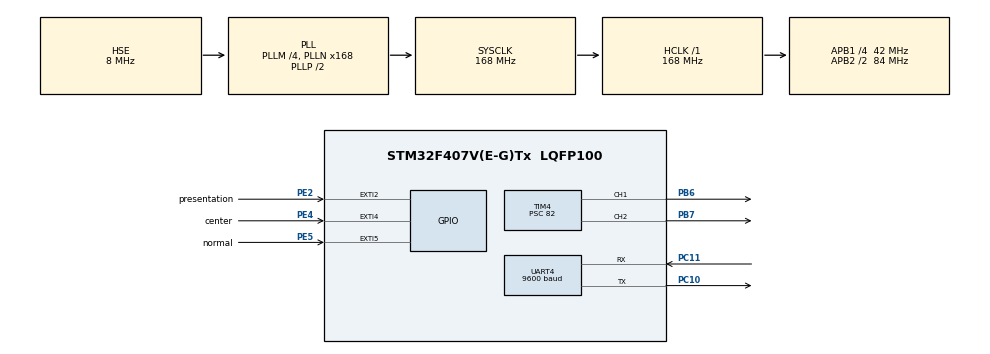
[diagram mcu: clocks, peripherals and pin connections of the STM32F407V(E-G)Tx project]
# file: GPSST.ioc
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Mcu.Family=STM32F4
Mcu.Name=STM32F407V(E-G)Tx
Mcu.Package=LQFP100
NVIC.EXTI2_IRQn=true\:0\:0\:false\:false\:true\:true
NVIC.EXTI4_IRQn=true\:0\:0\:false\:false\:true\:true
NVIC.EXTI9_5_IRQn=true\:0\:0\:false\:false\:true\:true
NVIC.PriorityGroup=NVIC_PRIORITYGROUP_4
NVIC.TIM1_BRK_TIM9_IRQn=true\:0\:0\:false\:false\:true\:true
NVIC.TIM2_IRQn=true\:0\:0\:false\:false\:true\:true
NVIC.TIM3_IRQn=true\:0\:0\:false\:false\:true\:true
NVIC.TIM4_IRQn=true\:0\:0\:false\:false\:true\:true
NVIC.TIM8_BRK_TIM12_IRQn=true\:0\:0\:false\:false\:true\:true
NVIC.UART4_IRQn=true\:0\:0\:false\:false\:true\:true
PB6.Signal=S_TIM4_CH1
PB7.Signal=S_TIM4_CH2
PC10.Mode=Asynchronous
PC10.Signal=UART4_TX
PC11.Mode=Asynchronous
PC11.Signal=UART4_RX
PE2.GPIO_Label=presentation
PE2.GPIO_ModeDefaultEXTI=GPIO_MODE_IT_RISING
PE2.GPIO_PuPd=GPIO_PULLDOWN
PE2.Signal=GPXTI2
PE4.GPIO_Label=center
PE4.GPIO_ModeDefaultEXTI=GPIO_MODE_IT_RISING
PE4.GPIO_PuPd=GPIO_PULLDOWN
PE4.Signal=GPXTI4
PE5.GPIO_Label=normal
PE5.GPIO_ModeDefaultEXTI=GPIO_MODE_IT_RISING
PE5.GPIO_PuPd=GPIO_PULLDOWN
PE5.Signal=GPXTI5
PH0-OSC_IN.Mode=HSE-External-Oscillator
PH0-OSC_IN.Signal=RCC_OSC_IN
PH1-OSC_OUT.Mode=HSE-External-Oscillator
PH1-OSC_OUT.Signal=RCC_OSC_OUT
ProjectManager.HeapSize=0x200
ProjectManager.StackSize=0x400
ProjectManager.TargetToolchain=SW4STM32
RCC.48MHZClocksFreq_Value=84000000
RCC.AHBFreq_Value=168000000
RCC.APB1CLKDivider=RCC_HCLK_DIV4
RCC.APB1Freq_Value=42000000
RCC.APB1TimFreq_Value=84000000
RCC.APB2CLKDivider=RCC_HCLK_DIV2
RCC.APB2Freq_Value=84000000
RCC.APB2TimFreq_Value=168000000
RCC.CortexFreq_Value=168000000
RCC.HCLKFreq_Value=168000000
RCC.HSE_VALUE=8000000
RCC.HSI_VALUE=16000000
RCC.LSE_VALUE=32768
RCC.PLLM=4
RCC.PLLN=168
RCC.PLLSourceVirtual=RCC_PLLSOURCE_HSE
RCC.SYSCLKFreq_VALUE=168000000
RCC.SYSCLKSource=RCC_SYSCLKSOURCE_PLLCLK
RCC.VCOOutputFreq_Value=336000000
SH.S_TIM4_CH1.0=TIM4_CH1,PWM Generation1 CH1
SH.S_TIM4_CH2.0=TIM4_CH2,PWM Generation2 CH2
TIM12.Period=199
TIM12.Prescaler=2099
TIM2.Period=41999
TIM2.Prescaler=3999
TIM3.Period=65399
TIM3.Prescaler=38531
TIM4.Channel-PWM\ Generation1\ CH1=TIM_CHANNEL_1
TIM4.Channel-PWM\ Generation2\ CH2=TIM_CHANNEL_2
TIM4.Period=20004
TIM4.Prescaler=82
TIM9.Period=224
TIM9.Prescaler=1
UART4.BaudRate=9600
UART4.VirtualMode=Asynchronous
VP_TIM12_VS_ClockSourceINT.Mode=Internal
VP_TIM2_VS_ClockSourceINT.Mode=Internal
VP_TIM3_VS_ClockSourceINT.Mode=Internal
VP_TIM3_VS_ClockSourceITR.Mode=TriggerSource_ITR0
VP_TIM4_VS_ClockSourceINT.Mode=Internal
VP_TIM9_VS_ClockSourceITR.Mode=TriggerSource_ITR0
VP_TIM9_VS_ControllerModeClock.Mode=Clock Mode
board=custom

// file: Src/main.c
/**
  ******************************************************************************
  * @file           : main.c
  * @brief          : Main program body
  ******************************************************************************
  ** This notice applies to any and all portions of this file
  * that are not between comment pairs USER CODE BEGIN and
  * USER CODE END. Other portions of this file, whether
  * inserted by the user or by software development tools
  * are owned by their respective copyright owners.
  *
  * COPYRIGHT(c) 2019 STMicroelectronics
  *
  * Redistribution and use in source and binary forms, with or without modification,
  * are permitted provided that the following conditions are met:
  *   1. Redistributions of source code must retain the above copyright notice,
  *      this list of conditions and the following disclaimer.
  *   2. Redistributions in binary form must reproduce the above copyright notice,
  *      this list of conditions and the following disclaimer in the documentation
  *      and/or other materials provided with the distribution.
  *   3. Neither the name of STMicroelectronics nor the names of its contributors
  *      may be used to endorse or promote products derived from this software
  *      without specific prior written permission.
  *
  * THIS SOFTWARE IS PROVIDED BY THE COPYRIGHT HOLDERS AND CONTRIBUTORS "AS IS"
  * AND ANY EXPRESS OR IMPLIED WARRANTIES, INCLUDING, BUT NOT LIMITED TO, THE
  * IMPLIED WARRANTIES OF MERCHANTABILITY AND FITNESS FOR A PARTICULAR PURPOSE ARE
  * DISCLAIMED. IN NO EVENT SHALL THE COPYRIGHT HOLDER OR CONTRIBUTORS BE LIABLE
  * FOR ANY DIRECT, INDIRECT, INCIDENTAL, SPECIAL, EXEMPLARY, OR CONSEQUENTIAL
  * DAMAGES (INCLUDING, BUT NOT LIMITED TO, PROCUREMENT OF SUBSTITUTE GOODS OR
  * SERVICES; LOSS OF USE, DATA, OR PROFITS; OR BUSINESS INTERRUPTION) HOWEVER
  * CAUSED AND ON ANY THEORY OF LIABILITY, WHETHER IN CONTRACT, STRICT LIABILITY,
  * OR TORT (INCLUDING NEGLIGENCE OR OTHERWISE) ARISING IN ANY WAY OUT OF THE USE
  * OF THIS SOFTWARE, EVEN IF ADVISED OF THE POSSIBILITY OF SUCH DAMAGE.
  *
  ******************************************************************************
  */
/* USER CODE BEGIN Includes */
#include "tracker.h"
/* USER CODE END Includes */

TIM_HandleTypeDef htim2;
TIM_HandleTypeDef htim3;
TIM_HandleTypeDef htim4;
TIM_HandleTypeDef htim9;
TIM_HandleTypeDef htim12;

/* USER CODE BEGIN PV */
/* Private variables ---------------------------------------------------------*/

/* USER CODE END PV */

void SystemClock_Config(void);
static void MX_GPIO_Init(void);
static void MX_TIM2_Init(void);
static void MX_TIM3_Init(void);
static void MX_TIM4_Init(void);
static void MX_UART4_Init(void);
static void MX_TIM9_Init(void);
static void MX_TIM12_Init(void);

void HAL_TIM_MspPostInit(TIM_HandleTypeDef *htim);

/* USER CODE BEGIN PFP */
/* Private function prototypes -----------------------------------------------*/
void HAL_TIM_PeriodElapsedCallback(TIM_HandleTypeDef *htim){
   	if(htim->Instance == TIM2 && MODE == 1)
   	{
   		presentation_mode();
    }

   	if(htim->Instance == TIM9 && MODE == 2)
   	{
   		normal_mode();
    }

   	if(htim->Instance == TIM12)
	{
   		if(TIM4->CCR1 < AZIMUTH)
		{
			TIM4->CCR1++;
		}
		else
		{
			TIM4->CCR1--;
		}

   		if(TIM4->CCR2 < ELEVATION)
		{
			TIM4->CCR2++;
		}
		else
		{
			TIM4->CCR2--;
		}
	}
}

void HAL_GPIO_EXTI_Callback(uint16_t GPIO_Pin){

	if(GPIO_Pin == center_Pin && HAL_GPIO_ReadPin(GPIOE, center_Pin) == 1)
	  {
		  MODE = 0;
		  AZIMUTH = set_servo_azimuth(0);
		  ELEVATION = set_servo_elevation(0);
 			presentation_mode_counter = 0;
	  }
	  else if(GPIO_Pin == presentation_Pin && HAL_GPIO_ReadPin(GPIOE, presentation_Pin) == 1)
	  {
		  MODE = 1;
 			presentation_mode();
	  }
	  else if(GPIO_Pin == normal_Pin && HAL_GPIO_ReadPin(GPIOE, normal_Pin) == 1)
	  {
		  MODE = 2;
 			presentation_mode_counter = 0;
 			normal_mode();
	  }
}

/* USER CODE END PFP */

int main(void)
{

  /* MCU Configuration----------------------------------------------------------*/

  /* Reset of all peripherals, Initializes the Flash interface and the Systick. */
  HAL_Init();

  /* Configure the system clock */
  SystemClock_Config();

  /* Initialize all configured peripherals */
  MX_GPIO_Init();
  MX_TIM2_Init();
  MX_TIM3_Init();
  MX_TIM4_Init();
  MX_UART4_Init();
  MX_TIM9_Init();
  MX_TIM12_Init();
  /* USER CODE BEGIN 2 */

  HAL_TIM_Base_Start_IT(&htim3);
  HAL_TIM_Base_Start_IT(&htim4);
  HAL_TIM_Base_Start_IT(&htim2);
  HAL_TIM_Base_Start_IT(&htim9);
  HAL_TIM_Base_Start_IT(&htim12);
  HAL_TIM_PWM_Start(&htim4, TIM_CHANNEL_1);
  HAL_TIM_PWM_Start(&htim4, TIM_CHANNEL_2);

  TIM4->CCR1 = 1500;
  TIM4->CCR2 = 1500;
  HAL_UART_Receive_IT(&huart4, receiveUART, sizeReceiveUART);

  /* USER CODE END 2 */

  /* Infinite loop */
  while (1)
  {

  }

}

void SystemClock_Config(void)
{

  RCC_OscInitTypeDef RCC_OscInitStruct;
  RCC_ClkInitTypeDef RCC_ClkInitStruct;

    /**Configure the main internal regulator output voltage
    */
  __HAL_RCC_PWR_CLK_ENABLE();

  __HAL_PWR_VOLTAGESCALING_CONFIG(PWR_REGULATOR_VOLTAGE_SCALE1);

    /**Initializes the CPU, AHB and APB busses clocks
    */
  RCC_OscInitStruct.OscillatorType = RCC_OSCILLATORTYPE_HSE;
  RCC_OscInitStruct.HSEState = RCC_HSE_ON;
  RCC_OscInitStruct.PLL.PLLState = RCC_PLL_ON;
  RCC_OscInitStruct.PLL.PLLSource = RCC_PLLSOURCE_HSE;
  RCC_OscInitStruct.PLL.PLLM = 4;
  RCC_OscInitStruct.PLL.PLLN = 168;
  RCC_OscInitStruct.PLL.PLLP = RCC_PLLP_DIV2;
  RCC_OscInitStruct.PLL.PLLQ = 4;
  if (HAL_RCC_OscConfig(&RCC_OscInitStruct) != HAL_OK)
  {
    _Error_Handler(__FILE__, __LINE__);
  }

    /**Initializes the CPU, AHB and APB busses clocks
    */
  RCC_ClkInitStruct.ClockType = RCC_CLOCKTYPE_HCLK|RCC_CLOCKTYPE_SYSCLK
                              |RCC_CLOCKTYPE_PCLK1|RCC_CLOCKTYPE_PCLK2;
  RCC_ClkInitStruct.SYSCLKSource = RCC_SYSCLKSOURCE_PLLCLK;
  RCC_ClkInitStruct.AHBCLKDivider = RCC_SYSCLK_DIV1;
  RCC_ClkInitStruct.APB1CLKDivider = RCC_HCLK_DIV4;
  RCC_ClkInitStruct.APB2CLKDivider = RCC_HCLK_DIV2;

  if (HAL_RCC_ClockConfig(&RCC_ClkInitStruct, FLASH_LATENCY_5) != HAL_OK)
  {
    _Error_Handler(__FILE__, __LINE__);
  }

    /**Configure the Systick interrupt time
    */
  HAL_SYSTICK_Config(HAL_RCC_GetHCLKFreq()/1000);

    /**Configure the Systick
    */
  HAL_SYSTICK_CLKSourceConfig(SYSTICK_CLKSOURCE_HCLK);

  /* SysTick_IRQn interrupt configuration */
  HAL_NVIC_SetPriority(SysTick_IRQn, 0, 0);
}

/* TIM2 init function */
static void MX_TIM2_Init(void)
{

  TIM_ClockConfigTypeDef sClockSourceConfig;
  TIM_MasterConfigTypeDef sMasterConfig;

  htim2.Instance = TIM2;
  htim2.Init.Prescaler = 2099;
  htim2.Init.CounterMode = TIM_COUNTERMODE_UP;
  htim2.Init.Period = 3999;
  htim2.Init.ClockDivision = TIM_CLOCKDIVISION_DIV1;
  if (HAL_TIM_Base_Init(&htim2) != HAL_OK)
  {
    _Error_Handler(__FILE__, __LINE__);
  }

  sClockSourceConfig.ClockSource = TIM_CLOCKSOURCE_INTERNAL;
  if (HAL_TIM_ConfigClockSource(&htim2, &sClockSourceConfig) != HAL_OK)
  {
    _Error_Handler(__FILE__, __LINE__);
  }

  sMasterConfig.MasterOutputTrigger = TIM_TRGO_RESET;
  sMasterConfig.MasterSlaveMode = TIM_MASTERSLAVEMODE_DISABLE;
  if (HAL_TIMEx_MasterConfigSynchronization(&htim2, &sMasterConfig) != HAL_OK)
  {
    _Error_Handler(__FILE__, __LINE__);
  }

}

/* TIM3 init function */
static void MX_TIM3_Init(void)
{

  TIM_ClockConfigTypeDef sClockSourceConfig;
  TIM_SlaveConfigTypeDef sSlaveConfig;
  TIM_MasterConfigTypeDef sMasterConfig;

  htim3.Instance = TIM3;
  htim3.Init.Prescaler = 38531;
  htim3.Init.CounterMode = TIM_COUNTERMODE_UP;
  htim3.Init.Period = 65399;
  htim3.Init.ClockDivision = TIM_CLOCKDIVISION_DIV1;
  if (HAL_TIM_Base_Init(&htim3) != HAL_OK)
  {
    _Error_Handler(__FILE__, __LINE__);
  }

  sClockSourceConfig.ClockSource = TIM_CLOCKSOURCE_INTERNAL;
  if (HAL_TIM_ConfigClockSource(&htim3, &sClockSourceConfig) != HAL_OK)
  {
    _Error_Handler(__FILE__, __LINE__);
  }

  sSlaveConfig.SlaveMode = TIM_SLAVEMODE_DISABLE;
  sSlaveConfig.InputTrigger = TIM_TS_ITR0;
  if (HAL_TIM_SlaveConfigSynchronization(&htim3, &sSlaveConfig) != HAL_OK)
  {
    _Error_Handler(__FILE__, __LINE__);
  }

  sMasterConfig.MasterOutputTrigger = TIM_TRGO_RESET;
  sMasterConfig.MasterSlaveMode = TIM_MASTERSLAVEMODE_DISABLE;
  if (HAL_TIMEx_MasterConfigSynchronization(&htim3, &sMasterConfig) != HAL_OK)
  {
    _Error_Handler(__FILE__, __LINE__);
  }

}

/* TIM4 init function */
static void MX_TIM4_Init(void)
{

  TIM_ClockConfigTypeDef sClockSourceConfig;
  TIM_MasterConfigTypeDef sMasterConfig;
  TIM_OC_InitTypeDef sConfigOC;

  htim4.Instance = TIM4;
  htim4.Init.Prescaler = 82;
  htim4.Init.CounterMode = TIM_COUNTERMODE_UP;
  htim4.Init.Period = 20004;
  htim4.Init.ClockDivision = TIM_CLOCKDIVISION_DIV1;
  if (HAL_TIM_Base_Init(&htim4) != HAL_OK)
  {
    _Error_Handler(__FILE__, __LINE__);
  }

  sClockSourceConfig.ClockSource = TIM_CLOCKSOURCE_INTERNAL;
  if (HAL_TIM_ConfigClockSource(&htim4, &sClockSourceConfig) != HAL_OK)
  {
    _Error_Handler(__FILE__, __LINE__);
  }

  if (HAL_TIM_PWM_Init(&htim4) != HAL_OK)
  {
    _Error_Handler(__FILE__, __LINE__);
  }

  sMasterConfig.MasterOutputTrigger = TIM_TRGO_RESET;
  sMasterConfig.MasterSlaveMode = TIM_MASTERSLAVEMODE_DISABLE;
  if (HAL_TIMEx_MasterConfigSynchronization(&htim4, &sMasterConfig) != HAL_OK)
  {
    _Error_Handler(__FILE__, __LINE__);
  }

  sConfigOC.OCMode = TIM_OCMODE_PWM1;
  sConfigOC.Pulse = 0;
  sConfigOC.OCPolarity = TIM_OCPOLARITY_HIGH;
  sConfigOC.OCFastMode = TIM_OCFAST_DISABLE;
  if (HAL_TIM_PWM_ConfigChannel(&htim4, &sConfigOC, TIM_CHANNEL_1) != HAL_OK)
  {
    _Error_Handler(__FILE__, __LINE__);
  }

  if (HAL_TIM_PWM_ConfigChannel(&htim4, &sConfigOC, TIM_CHANNEL_2) != HAL_OK)
  {
    _Error_Handler(__FILE__, __LINE__);
  }

  HAL_TIM_MspPostInit(&htim4);

}

/* TIM9 init function */
static void MX_TIM9_Init(void)
{

  TIM_SlaveConfigTypeDef sSlaveConfig;

  htim9.Instance = TIM9;
  htim9.Init.Prescaler = 39;
  htim9.Init.CounterMode = TIM_COUNTERMODE_UP;
  htim9.Init.Period = 224;
  htim9.Init.ClockDivision = TIM_CLOCKDIVISION_DIV1;
  if (HAL_TIM_Base_Init(&htim9) != HAL_OK)
  {
    _Error_Handler(__FILE__, __LINE__);
  }

  sSlaveConfig.SlaveMode = TIM_SLAVEMODE_EXTERNAL1;
  sSlaveConfig.InputTrigger = TIM_TS_ITR0;
  if (HAL_TIM_SlaveConfigSynchronization(&htim9, &sSlaveConfig) != HAL_OK)
  {
    _Error_Handler(__FILE__, __LINE__);
  }

}

/* TIM12 init function */
static void MX_TIM12_Init(void)
{

  TIM_ClockConfigTypeDef sClockSourceConfig;

  htim12.Instance = TIM12;
  htim12.Init.Prescaler = 2099;
  htim12.Init.CounterMode = TIM_COUNTERMODE_UP;
  htim12.Init.Period = 199;
  htim12.Init.ClockDivision = TIM_CLOCKDIVISION_DIV1;
  if (HAL_TIM_Base_Init(&htim12) != HAL_OK)
  {
    _Error_Handler(__FILE__, __LINE__);
  }

  sClockSourceConfig.ClockSource = TIM_CLOCKSOURCE_INTERNAL;
  if (HAL_TIM_ConfigClockSource(&htim12, &sClockSourceConfig) != HAL_OK)
  {
    _Error_Handler(__FILE__, __LINE__);
  }

}

/* UART4 init function */
static void MX_UART4_Init(void)
{

  huart4.Instance = UART4;
  huart4.Init.BaudRate = 9600;
  huart4.Init.WordLength = UART_WORDLENGTH_8B;
  huart4.Init.StopBits = UART_STOPBITS_1;
  huart4.Init.Parity = UART_PARITY_NONE;
  huart4.Init.Mode = UART_MODE_TX_RX;
  huart4.Init.HwFlowCtl = UART_HWCONTROL_NONE;
  huart4.Init.OverSampling = UART_OVERSAMPLING_16;
  if (HAL_UART_Init(&huart4) != HAL_OK)
  {
    _Error_Handler(__FILE__, __LINE__);
  }

}

/** Configure pins as
        * Analog
        * Input
        * Output
        * EVENT_OUT
        * EXTI
*/
static void MX_GPIO_Init(void)
{

  GPIO_InitTypeDef GPIO_InitStruct;

  /* GPIO Ports Clock Enable */
  __HAL_RCC_GPIOE_CLK_ENABLE();
  __HAL_RCC_GPIOH_CLK_ENABLE();
  __HAL_RCC_GPIOC_CLK_ENABLE();
  __HAL_RCC_GPIOB_CLK_ENABLE();

  /*Configure GPIO pins : presentation_Pin center_Pin normal_Pin */
  GPIO_InitStruct.Pin = presentation_Pin|center_Pin|normal_Pin;
  GPIO_InitStruct.Mode = GPIO_MODE_IT_RISING;
  GPIO_InitStruct.Pull = GPIO_PULLDOWN;
  HAL_GPIO_Init(GPIOE, &GPIO_InitStruct);

  /* EXTI interrupt init*/
  HAL_NVIC_SetPriority(EXTI2_IRQn, 0, 0);
  HAL_NVIC_EnableIRQ(EXTI2_IRQn);

  HAL_NVIC_SetPriority(EXTI4_IRQn, 0, 0);
  HAL_NVIC_EnableIRQ(EXTI4_IRQn);

  HAL_NVIC_SetPriority(EXTI9_5_IRQn, 0, 0);
  HAL_NVIC_EnableIRQ(EXTI9_5_IRQn);

}

void _Error_Handler(char *file, int line)
{
  while(1)
  {
  }
}

/************************ (C) COPYRIGHT STMicroelectronics *****END OF FILE****/
